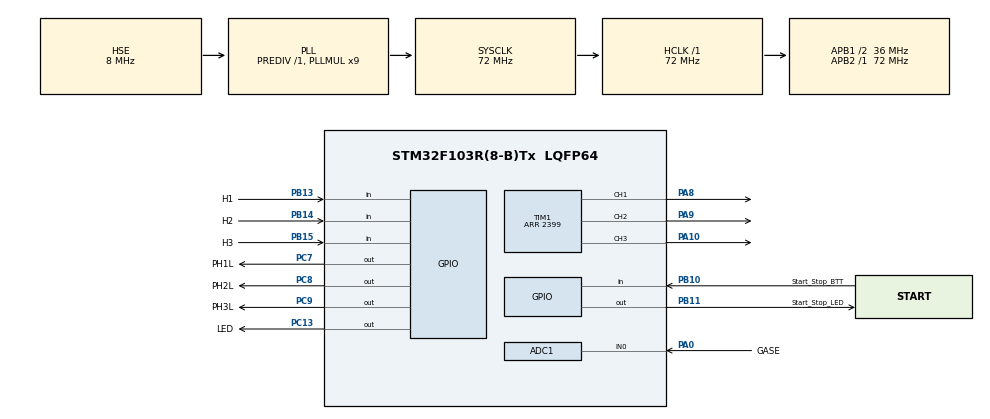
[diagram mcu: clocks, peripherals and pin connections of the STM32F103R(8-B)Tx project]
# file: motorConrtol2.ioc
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ADC1.Channel-0\#ChannelRegularConversion=ADC_CHANNEL_0
ADC1.NbrOfConversionFlag=1
ADC1.Rank-0\#ChannelRegularConversion=1
ADC1.SamplingTime-0\#ChannelRegularConversion=ADC_SAMPLETIME_1CYCLE_5
ADC1.master=1
Dma.ADC1.0.Direction=DMA_PERIPH_TO_MEMORY
Dma.ADC1.0.Instance=DMA1_Channel1
Dma.ADC1.0.MemDataAlignment=DMA_MDATAALIGN_HALFWORD
Dma.ADC1.0.MemInc=DMA_MINC_ENABLE
Dma.ADC1.0.Mode=DMA_NORMAL
Dma.ADC1.0.PeriphDataAlignment=DMA_PDATAALIGN_HALFWORD
Dma.ADC1.0.PeriphInc=DMA_PINC_DISABLE
Dma.ADC1.0.Priority=DMA_PRIORITY_LOW
Dma.Request0=ADC1
IWDG.Reload=80
Mcu.Family=STM32F1
Mcu.Name=STM32F103R(8-B)Tx
Mcu.Package=LQFP64
NVIC.ADC1_2_IRQn=true\:0\:0\:false\:false\:true\:true\:true\:true
NVIC.DMA1_Channel1_IRQn=true\:0\:0\:false\:false\:true\:false\:true\:true
NVIC.PriorityGroup=NVIC_PRIORITYGROUP_4
NVIC.TIM1_BRK_IRQn=true\:0\:0\:false\:false\:true\:true\:true\:true
NVIC.TIM1_TRG_COM_IRQn=true\:0\:0\:false\:false\:true\:true\:true\:true
NVIC.TIM1_UP_IRQn=true\:0\:0\:false\:false\:true\:true\:true\:true
PA0-WKUP.GPIO_Label=GASE
PA0-WKUP.Signal=ADCx_IN0
PA10.Signal=S_TIM1_CH3
PA13.Mode=Serial_Wire
PA13.Signal=SYS_JTMS-SWDIO
PA14.Mode=Serial_Wire
PA14.Signal=SYS_JTCK-SWCLK
PA8.Signal=S_TIM1_CH1
PA9.Signal=S_TIM1_CH2
PB10.GPIO_Label=Start_Stop_BTT
PB10.GPIO_PuPd=GPIO_PULLUP
PB10.Signal=GPIO_Input
PB11.GPIO_Label=Start_Stop_LED
PB11.Signal=GPIO_Output
PB13.GPIO_Label=H1
PB13.GPIO_PuPd=GPIO_PULLUP
PB13.Signal=GPIO_Input
PB14.GPIO_Label=H2
PB14.GPIO_PuPd=GPIO_PULLUP
PB14.Signal=GPIO_Input
PB15.GPIO_Label=H3
PB15.GPIO_PuPd=GPIO_PULLUP
PB15.Signal=GPIO_Input
PC13-TAMPER-RTC.GPIO_Label=LED
PC13-TAMPER-RTC.Signal=GPIO_Output
PC7.GPIO_Label=PH1L
PC7.Signal=GPIO_Output
PC8.GPIO_Label=PH2L
PC8.Signal=GPIO_Output
PC9.GPIO_Label=PH3L
PC9.Signal=GPIO_Output
PD0-OSC_IN.Mode=HSE-External-Oscillator
PD0-OSC_IN.Signal=RCC_OSC_IN
PD1-OSC_OUT.Mode=HSE-External-Oscillator
PD1-OSC_OUT.Signal=RCC_OSC_OUT
ProjectManager.HeapSize=0x200
ProjectManager.StackSize=0x400
ProjectManager.TargetToolchain=Makefile
RCC.ADCPresc=RCC_ADCPCLK2_DIV6
RCC.AHBFreq_Value=72000000
RCC.APB1CLKDivider=RCC_HCLK_DIV2
RCC.APB1Freq_Value=36000000
RCC.APB1TimFreq_Value=72000000
RCC.APB2Freq_Value=72000000
RCC.APB2TimFreq_Value=72000000
RCC.EnbaleCSS=true
RCC.HCLKFreq_Value=72000000
RCC.PLLMUL=RCC_PLL_MUL9
RCC.PLLSourceVirtual=RCC_PLLSOURCE_HSE
RCC.SYSCLKFreq_VALUE=72000000
RCC.SYSCLKSource=RCC_SYSCLKSOURCE_PLLCLK
RCC.USBFreq_Value=72000000
SH.ADCx_IN0.0=ADC1_IN0,IN0
SH.S_TIM1_CH1.0=TIM1_CH1,PWM Generation1 CH1
SH.S_TIM1_CH2.0=TIM1_CH2,PWM Generation2 CH2
SH.S_TIM1_CH3.0=TIM1_CH3,PWM Generation3 CH3
TIM1.Channel-PWM\ Generation1\ CH1=TIM_CHANNEL_1
TIM1.Channel-PWM\ Generation2\ CH2=TIM_CHANNEL_2
TIM1.Channel-PWM\ Generation3\ CH3=TIM_CHANNEL_3
TIM1.Period=2399
VP_IWDG_VS_IWDG.Mode=IWDG_Activate
VP_RTC_VS_RTC_Activate.Mode=RTC_Enabled
VP_TIM1_VS_ClockSourceINT.Mode=Internal
board=custom

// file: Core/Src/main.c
/* USER CODE BEGIN Header */
/**
  ******************************************************************************
  * @file           : main.c
  * @brief          : Main program body
  ******************************************************************************
  * @attention
  *
  * Copyright (c) 2025 STMicroelectronics.
  * All rights reserved.
  *
  * This software is licensed under terms that can be found in the LICENSE file
  * in the root directory of this software component.
  * If no LICENSE file comes with this software, it is provided AS-IS.
  *
  ******************************************************************************
  */
/* USER CODE END Header */
#include "main.h"

/* USER CODE BEGIN Includes */
#include "stdbool.h"
#include "stdio.h"
#include "stdlib.h"
#include "math.h"
#include "six_step.h"
#include "buttons.h"
/* USER CODE END Includes */

/* USER CODE BEGIN PD */
#define constrain(amt,low,high) ((amt)<(low)?(low):((amt)>(high)?(high):(amt)))

#define SHUTDOWN_DUTY 115
/* USER CODE END PD */

ADC_HandleTypeDef hadc1;
DMA_HandleTypeDef hdma_adc1;

IWDG_HandleTypeDef hiwdg;

RTC_HandleTypeDef hrtc;

TIM_HandleTypeDef htim1;

/* USER CODE BEGIN PV */
uint16_t duty;
uint16_t duty_dt;
uint8_t hall_value; // newer version of bool halls[3]

uint32_t pulse_interval_us = 0xFFFFFFFF;
uint32_t pulse_interval_data;

uint32_t gase_zero_pos = 1200;
uint32_t gase_max_pos = 3050;

bool startup_sequence = true;// set true
bool stop_sequence = false;

bool stop_sequence_ctrl = false;

uint16_t adc_value;

#define MAX_DUTY_DELTA     8   // maximum change per 10ms

uint16_t target_duty = 0;

float current = 0.0f;

bool isScreenConnected = false;

bool isMotorEnabled = false;

Button start_stop_btt = {Start_Stop_BTT_GPIO_Port, Start_Stop_BTT_Pin, TYPE_HIGH_PULL};
/* USER CODE END PV */

void SystemClock_Config(void);
static void MX_GPIO_Init(void);
static void MX_DMA_Init(void);
static void MX_ADC1_Init(void);
static void MX_TIM1_Init(void);
static void MX_IWDG_Init(void);
static void MX_RTC_Init(void);

int main(void)
{

  /* MCU Configuration--------------------------------------------------------*/

  /* Reset of all peripherals, Initializes the Flash interface and the Systick. */
  HAL_Init();

  /* Configure the system clock */
  SystemClock_Config();

  /* Initialize all configured peripherals */
  MX_GPIO_Init();
  MX_DMA_Init();
  MX_ADC1_Init();
  MX_TIM1_Init();
  MX_IWDG_Init();
  MX_RTC_Init();
  /* USER CODE BEGIN 2 */
  HAL_ADC_Stop(&hadc1);
  HAL_ADCEx_Calibration_Start(&hadc1);

  HAL_ADC_Start_DMA(&hadc1, (uint32_t*)&adc_value, 1);

  uint16_t motorEnBackupValue = HAL_RTCEx_BKUPRead(&hrtc, RTC_BKP_DR1);
  uint16_t targetDutyBackupValue = HAL_RTCEx_BKUPRead(&hrtc, RTC_BKP_DR2);
  uint16_t realDutyBackupValue = HAL_RTCEx_BKUPRead(&hrtc, RTC_BKP_DR3);
  uint16_t code = HAL_RTCEx_BKUPRead(&hrtc, RTC_BKP_DR4);

  if(code == 0xAA55){
    isMotorEnabled = motorEnBackupValue;
    target_duty = targetDutyBackupValue;
    duty = realDutyBackupValue;
  }

  init(&start_stop_btt);
  HAL_GPIO_WritePin(Start_Stop_LED_GPIO_Port, Start_Stop_LED_Pin, isMotorEnabled);

  MC_DisablePWM();
  MC_InitPWM();
  MC_SetDuty(0);
  MC_LoadStep(1);
  MC_EnablePWM();

  MX_IWDG_Init();
  /* USER CODE END 2 */

  /* Infinite loop */
  /* USER CODE BEGIN WHILE */
  while (1)
  {
    if (HAL_IWDG_Refresh(&hiwdg) != HAL_OK){
		  Error_Handler();
	  }

    if(isClicked(&start_stop_btt)){
      isMotorEnabled = !isMotorEnabled;
      HAL_GPIO_WritePin(Start_Stop_LED_GPIO_Port, Start_Stop_LED_Pin, isMotorEnabled);
    }
    tick(&start_stop_btt);
    /* USER CODE END WHILE */

  }
}

void SystemClock_Config(void)
{
  RCC_OscInitTypeDef RCC_OscInitStruct = {0};
  RCC_ClkInitTypeDef RCC_ClkInitStruct = {0};
  RCC_PeriphCLKInitTypeDef PeriphClkInit = {0};

  /** Initializes the RCC Oscillators according to the specified parameters
  * in the RCC_OscInitTypeDef structure.
  */
  RCC_OscInitStruct.OscillatorType = RCC_OSCILLATORTYPE_LSI|RCC_OSCILLATORTYPE_HSE;
  RCC_OscInitStruct.HSEState = RCC_HSE_ON;
  RCC_OscInitStruct.HSEPredivValue = RCC_HSE_PREDIV_DIV1;
  RCC_OscInitStruct.HSIState = RCC_HSI_ON;
  RCC_OscInitStruct.LSIState = RCC_LSI_ON;
  RCC_OscInitStruct.PLL.PLLState = RCC_PLL_ON;
  RCC_OscInitStruct.PLL.PLLSource = RCC_PLLSOURCE_HSE;
  RCC_OscInitStruct.PLL.PLLMUL = RCC_PLL_MUL9;
  if (HAL_RCC_OscConfig(&RCC_OscInitStruct) != HAL_OK)
  {
    Error_Handler();
  }

  /** Initializes the CPU, AHB and APB buses clocks
  */
  RCC_ClkInitStruct.ClockType = RCC_CLOCKTYPE_HCLK|RCC_CLOCKTYPE_SYSCLK
                              |RCC_CLOCKTYPE_PCLK1|RCC_CLOCKTYPE_PCLK2;
  RCC_ClkInitStruct.SYSCLKSource = RCC_SYSCLKSOURCE_PLLCLK;
  RCC_ClkInitStruct.AHBCLKDivider = RCC_SYSCLK_DIV1;
  RCC_ClkInitStruct.APB1CLKDivider = RCC_HCLK_DIV2;
  RCC_ClkInitStruct.APB2CLKDivider = RCC_HCLK_DIV1;

  if (HAL_RCC_ClockConfig(&RCC_ClkInitStruct, FLASH_LATENCY_2) != HAL_OK)
  {
    Error_Handler();
  }
  PeriphClkInit.PeriphClockSelection = RCC_PERIPHCLK_RTC|RCC_PERIPHCLK_ADC;
  PeriphClkInit.RTCClockSelection = RCC_RTCCLKSOURCE_LSI;
  PeriphClkInit.AdcClockSelection = RCC_ADCPCLK2_DIV6;
  if (HAL_RCCEx_PeriphCLKConfig(&PeriphClkInit) != HAL_OK)
  {
    Error_Handler();
  }

  /** Enables the Clock Security System
  */
  HAL_RCC_EnableCSS();
}

static void MX_ADC1_Init(void)
{

  ADC_ChannelConfTypeDef sConfig = {0};

  /** Common config
  */
  hadc1.Instance = ADC1;
  hadc1.Init.ScanConvMode = ADC_SCAN_DISABLE;
  hadc1.Init.ContinuousConvMode = DISABLE;
  hadc1.Init.DiscontinuousConvMode = DISABLE;
  hadc1.Init.ExternalTrigConv = ADC_SOFTWARE_START;
  hadc1.Init.DataAlign = ADC_DATAALIGN_RIGHT;
  hadc1.Init.NbrOfConversion = 1;
  if (HAL_ADC_Init(&hadc1) != HAL_OK)
  {
    Error_Handler();
  }

  /** Configure Regular Channel
  */
  sConfig.Channel = ADC_CHANNEL_0;
  sConfig.Rank = ADC_REGULAR_RANK_1;
  sConfig.SamplingTime = ADC_SAMPLETIME_1CYCLE_5;
  if (HAL_ADC_ConfigChannel(&hadc1, &sConfig) != HAL_OK)
  {
    Error_Handler();
  }

}

static void MX_IWDG_Init(void)
{

  hiwdg.Instance = IWDG;
  hiwdg.Init.Prescaler = IWDG_PRESCALER_4;
  hiwdg.Init.Reload = 80;
  if (HAL_IWDG_Init(&hiwdg) != HAL_OK)
  {
    Error_Handler();
  }

}

static void MX_RTC_Init(void)
{

  /** Initialize RTC Only
  */
  hrtc.Instance = RTC;
  hrtc.Init.AsynchPrediv = RTC_AUTO_1_SECOND;
  hrtc.Init.OutPut = RTC_OUTPUTSOURCE_ALARM;
  if (HAL_RTC_Init(&hrtc) != HAL_OK)
  {
    Error_Handler();
  }

}

static void MX_TIM1_Init(void)
{

  TIM_ClockConfigTypeDef sClockSourceConfig = {0};
  TIM_MasterConfigTypeDef sMasterConfig = {0};
  TIM_OC_InitTypeDef sConfigOC = {0};
  TIM_BreakDeadTimeConfigTypeDef sBreakDeadTimeConfig = {0};

  htim1.Instance = TIM1;
  htim1.Init.Prescaler = 0;
  htim1.Init.CounterMode = TIM_COUNTERMODE_UP;
  htim1.Init.Period = 2399;
  htim1.Init.ClockDivision = TIM_CLOCKDIVISION_DIV1;
  htim1.Init.RepetitionCounter = 0;
  htim1.Init.AutoReloadPreload = TIM_AUTORELOAD_PRELOAD_DISABLE;
  if (HAL_TIM_Base_Init(&htim1) != HAL_OK)
  {
    Error_Handler();
  }
  sClockSourceConfig.ClockSource = TIM_CLOCKSOURCE_INTERNAL;
  if (HAL_TIM_ConfigClockSource(&htim1, &sClockSourceConfig) != HAL_OK)
  {
    Error_Handler();
  }
  if (HAL_TIM_PWM_Init(&htim1) != HAL_OK)
  {
    Error_Handler();
  }
  sMasterConfig.MasterOutputTrigger = TIM_TRGO_RESET;
  sMasterConfig.MasterSlaveMode = TIM_MASTERSLAVEMODE_DISABLE;
  if (HAL_TIMEx_MasterConfigSynchronization(&htim1, &sMasterConfig) != HAL_OK)
  {
    Error_Handler();
  }
  sConfigOC.OCMode = TIM_OCMODE_PWM1;
  sConfigOC.Pulse = 0;
  sConfigOC.OCPolarity = TIM_OCPOLARITY_HIGH;
  sConfigOC.OCNPolarity = TIM_OCNPOLARITY_HIGH;
  sConfigOC.OCFastMode = TIM_OCFAST_DISABLE;
  sConfigOC.OCIdleState = TIM_OCIDLESTATE_RESET;
  sConfigOC.OCNIdleState = TIM_OCNIDLESTATE_RESET;
  if (HAL_TIM_PWM_ConfigChannel(&htim1, &sConfigOC, TIM_CHANNEL_1) != HAL_OK)
  {
    Error_Handler();
  }
  if (HAL_TIM_PWM_ConfigChannel(&htim1, &sConfigOC, TIM_CHANNEL_2) != HAL_OK)
  {
    Error_Handler();
  }
  if (HAL_TIM_PWM_ConfigChannel(&htim1, &sConfigOC, TIM_CHANNEL_3) != HAL_OK)
  {
    Error_Handler();
  }
  sBreakDeadTimeConfig.OffStateRunMode = TIM_OSSR_DISABLE;
  sBreakDeadTimeConfig.OffStateIDLEMode = TIM_OSSI_DISABLE;
  sBreakDeadTimeConfig.LockLevel = TIM_LOCKLEVEL_OFF;
  sBreakDeadTimeConfig.DeadTime = 0;
  sBreakDeadTimeConfig.BreakState = TIM_BREAK_DISABLE;
  sBreakDeadTimeConfig.BreakPolarity = TIM_BREAKPOLARITY_HIGH;
  sBreakDeadTimeConfig.AutomaticOutput = TIM_AUTOMATICOUTPUT_DISABLE;
  if (HAL_TIMEx_ConfigBreakDeadTime(&htim1, &sBreakDeadTimeConfig) != HAL_OK)
  {
    Error_Handler();
  }
  HAL_TIM_MspPostInit(&htim1);

}

static void MX_DMA_Init(void)
{

  /* DMA controller clock enable */
  __HAL_RCC_DMA1_CLK_ENABLE();

  /* DMA interrupt init */
  /* DMA1_Channel1_IRQn interrupt configuration */
  HAL_NVIC_SetPriority(DMA1_Channel1_IRQn, 0, 0);
  HAL_NVIC_EnableIRQ(DMA1_Channel1_IRQn);

}

static void MX_GPIO_Init(void)
{
  GPIO_InitTypeDef GPIO_InitStruct = {0};

  /* GPIO Ports Clock Enable */
  __HAL_RCC_GPIOC_CLK_ENABLE();
  __HAL_RCC_GPIOD_CLK_ENABLE();
  __HAL_RCC_GPIOA_CLK_ENABLE();
  __HAL_RCC_GPIOB_CLK_ENABLE();

  /*Configure GPIO pin Output Level */
  HAL_GPIO_WritePin(GPIOC, LED_Pin|PH1L_Pin|PH2L_Pin|PH3L_Pin, GPIO_PIN_RESET);

  /*Configure GPIO pin Output Level */
  HAL_GPIO_WritePin(Start_Stop_LED_GPIO_Port, Start_Stop_LED_Pin, GPIO_PIN_RESET);

  /*Configure GPIO pins : LED_Pin PH1L_Pin PH2L_Pin PH3L_Pin */
  GPIO_InitStruct.Pin = LED_Pin|PH1L_Pin|PH2L_Pin|PH3L_Pin;
  GPIO_InitStruct.Mode = GPIO_MODE_OUTPUT_PP;
  GPIO_InitStruct.Pull = GPIO_NOPULL;
  GPIO_InitStruct.Speed = GPIO_SPEED_FREQ_LOW;
  HAL_GPIO_Init(GPIOC, &GPIO_InitStruct);

  /*Configure GPIO pins : Start_Stop_BTT_Pin H1_Pin H2_Pin H3_Pin */
  GPIO_InitStruct.Pin = Start_Stop_BTT_Pin|H1_Pin|H2_Pin|H3_Pin;
  GPIO_InitStruct.Mode = GPIO_MODE_INPUT;
  GPIO_InitStruct.Pull = GPIO_PULLUP;
  HAL_GPIO_Init(GPIOB, &GPIO_InitStruct);

  /*Configure GPIO pin : Start_Stop_LED_Pin */
  GPIO_InitStruct.Pin = Start_Stop_LED_Pin;
  GPIO_InitStruct.Mode = GPIO_MODE_OUTPUT_PP;
  GPIO_InitStruct.Pull = GPIO_NOPULL;
  GPIO_InitStruct.Speed = GPIO_SPEED_FREQ_LOW;
  HAL_GPIO_Init(Start_Stop_LED_GPIO_Port, &GPIO_InitStruct);

}

/* USER CODE BEGIN 4 */
uint32_t map(uint32_t x, uint32_t in_min, uint32_t in_max, uint32_t out_min, uint32_t out_max) {
  return (x - in_min) * (out_max - out_min) / (in_max - in_min) + out_min;
}

void HAL_TIM_PeriodElapsedCallback(TIM_HandleTypeDef *htim){
  // Get hall values
  uint8_t old_halls = hall_value;
  uint8_t hall_a = (HAL_GPIO_ReadPin(H1_GPIO_Port, H1_Pin) == GPIO_PIN_SET) ? 1 : 0;
  uint8_t hall_b = (HAL_GPIO_ReadPin(H2_GPIO_Port, H2_Pin) == GPIO_PIN_SET) ? 1 : 0;
  uint8_t hall_c = (HAL_GPIO_ReadPin(H3_GPIO_Port, H3_Pin) == GPIO_PIN_SET) ? 1 : 0;

  hall_value = (hall_c << 2) | (hall_b << 1) | hall_a;

  // Get gase value and update current
  HAL_ADC_Start_DMA(&hadc1, (uint32_t*)&adc_value, 1);

  uint16_t gase_value = constrain(adc_value, gase_zero_pos, gase_max_pos);
  target_duty = map(gase_value, gase_zero_pos, gase_max_pos, 0, 2299);

  if(!isMotorEnabled){target_duty = 0;}

  duty_dt++;
  if(duty_dt >= 319){
    duty_dt = 0;
    int16_t diff = target_duty - duty;

    if (fabs(diff) <= MAX_DUTY_DELTA){
      duty = target_duty;
    }else{
      duty += (diff > 0 ? MAX_DUTY_DELTA : -MAX_DUTY_DELTA);
    }
    MC_SetDuty(duty);
  }
  // Apply
  if(old_halls != hall_value){
    MC_LoadStep(hall_value);
  }
  HAL_GPIO_TogglePin(LED_GPIO_Port, LED_Pin);

  HAL_PWR_EnableBkUpAccess();

  HAL_RTCEx_BKUPWrite(&hrtc, RTC_BKP_DR1, isMotorEnabled);
  HAL_RTCEx_BKUPWrite(&hrtc, RTC_BKP_DR2, target_duty);
  HAL_RTCEx_BKUPWrite(&hrtc, RTC_BKP_DR3, duty);
  HAL_RTCEx_BKUPWrite(&hrtc, RTC_BKP_DR4, 0xAA55);

  HAL_PWR_DisableBkUpAccess();
}
/* USER CODE END 4 */

void Error_Handler(void)
{
  __disable_irq();
  while (1)
  {
  }
}
